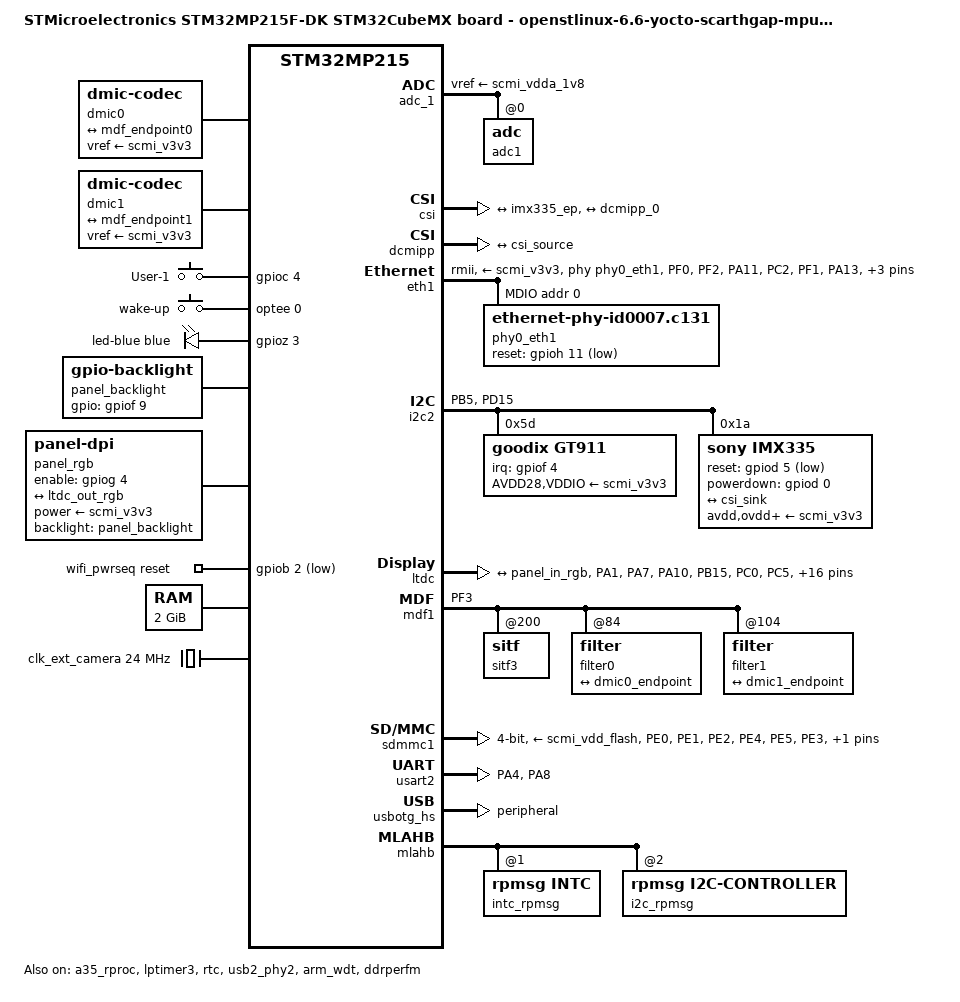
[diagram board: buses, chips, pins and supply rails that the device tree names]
/dts-v1/;
#include <dt-bindings/pinctrl/stm32-pinfunc.h>
#include "stm32mp215.dtsi"
#include "stm32mp21xf.dtsi"
#include "stm32mp215f-board_215f-dk_m33td-mx-resmem.dtsi"

/* USER CODE BEGIN includes */
#include <dt-bindings/gpio/gpio.h>
#include <dt-bindings/leds/common.h>
#include <dt-bindings/input/input.h>
#include <dt-bindings/rtc/rtc-stm32.h>
#include "stm32mp21-pinctrl.dtsi"
/* USER CODE END includes */

/{
	model = "STMicroelectronics STM32MP215F-DK STM32CubeMX board - openstlinux-6.6-yocto-scarthgap-mpu-v25.01.03";
	compatible = "st,stm32mp215f-board_215f-dk_m33td-mx", "st,stm32mp215f-dk", "st,stm32mp215";

	/* USER CODE BEGIN root */

	aliases{
		ethernet0 = &eth1;
		serial0 = &usart2;
		serial1 = &usart6;
		serial2 = &uart4;
		serial3 = &usart1;
	};

	ca35ss_clk:ca35ss-clk{
		compatible = "st,stm32mp2-ca35ss-clk";
		#clock-cells = <0>;
	};

	cpu0_opp_table:cpu0-opp-table{
		compatible = "operating-points-v2";
		opp-shared;

		opp-1200000000{
			opp-hz = /bits/ 64 <1200000000>;
			opp-suspend;
		};

		opp-1500000000{
			opp-hz = /bits/ 64 <1500000000>;
		};
	};

	chosen{
		stdout-path = "serial0:115200n8";
		#address-cells = <2>;
		#size-cells = <2>;
		ranges;
	};
	
	framebuffer {
			compatible = "simple-framebuffer";
			clocks = <&rcc CK_KER_LTDC>;
			status = "disabled";
		};

	dmic0:dmic-0{
		compatible = "dmic-codec";
		#sound-dai-cells = <1>;
		sound-name-prefix = "dmic0";
		vref-supply = <&scmi_v3v3>;
		status = "okay";

		port{

			dmic0_endpoint:endpoint{
				remote-endpoint = <&mdf_endpoint0>;
			};
		};
	};

	dmic1:dmic-1{
		compatible = "dmic-codec";
		#sound-dai-cells = <1>;
		sound-name-prefix = "dmic1";
		vref-supply = <&scmi_v3v3>;
		status = "okay";

		port{

			dmic1_endpoint:endpoint{
				remote-endpoint = <&mdf_endpoint1>;
			};
		};
	};

	gpio-keys{
		compatible = "gpio-keys";

		button-user-1{
			label = "User-1";
			linux,code = <BTN_1>;
			gpios = <&gpioc 4 GPIO_ACTIVE_HIGH>;
			status = "okay";
		};

		button-wake-up{
			label = "wake-up";
			linux,code = <KEY_WAKEUP>;
			interrupts-extended = <&optee 0>;
			wakeup-source;
			status = "okay";
		};
	};

	gpio-leds{
		compatible = "gpio-leds";

		led-blue{
			function = LED_FUNCTION_HEARTBEAT;
			color = <LED_COLOR_ID_BLUE>;
			gpios = <&gpioz 3 GPIO_ACTIVE_HIGH>;
			linux,default-trigger = "heartbeat";
			default-state = "off";
		};
	};

	panel_backlight:panel-backlight{
		compatible = "gpio-backlight";
		gpios = <&gpiof 9 GPIO_ACTIVE_HIGH>;
		default-on;
		default-brightness-level = <1>;
		status = "okay";
	};

	panel_rgb:panel-rgb{
		compatible = "panel-dpi";
		enable-gpios = <&gpiog 4 GPIO_ACTIVE_HIGH>;
		backlight = <&panel_backlight>;
		power-supply = <&scmi_v3v3>;
		data-mapping = "bgr666";
		default-on;
		status = "okay";
		width-mm = <105>;
		height-mm = <67>;

		port{

			panel_in_rgb:endpoint{
				remote-endpoint = <&ltdc_out_rgb>;
			};
		};

		panel-timing{
			clock-frequency = <10000000>;
			hactive = <480>;
			vactive = <272>;
			hsync-len = <52>;
			hfront-porch = <10>;
			hback-porch = <10>;
			vsync-len = <10>;
			vfront-porch = <10>;
			vback-porch = <10>;
			hsync-active = <0>;
			vsync-active = <0>;
			de-active = <1>;
			pixelclk-active = <1>;
		};
	};

	sound{
		compatible = "audio-graph-card";
		label = "STM32MP21-DK";
		dais = <&mdf1_port0 &mdf1_port1>;
		status = "okay";
	};

	wifi_pwrseq:wifi-pwrseq{
		compatible = "mmc-pwrseq-simple";
		reset-gpios = <&gpiob 2 GPIO_ACTIVE_LOW>;
	};
	/* USER CODE END root */

	memory@80000000{
		device_type = "memory";
		reg = <0x0 0x80000000 0x0 0x80000000>;
	};

	clocks{

		/* USER CODE BEGIN clocks */

		clk_ext_camera:clk-ext-camera{
			#clock-cells = <0>;
			compatible = "fixed-clock";
			clock-frequency = <24000000>;
		};
		/* USER CODE END clocks */
	};
};

&pinctrl {

	eth1_mdio_pins_mx:eth1_mdio_mx-0{

		pins{
			pinmux = <STM32_PINMUX('F', 0, AF10)>,
					<STM32_PINMUX('F', 2, AF10)>;
			bias-disable;
			drive-push-pull;
			slew-rate = <1>;
		};
	};

	eth1_mdio_sleep_pins_mx:eth1_mdio_sleep_mx-0{

		pins{
			pinmux = <STM32_PINMUX('F', 0, ANALOG)>,
					<STM32_PINMUX('F', 2, ANALOG)>;
		};
	};

	eth1_rmii_pins_mx:eth1_rmii_mx-0{

		pins1{
			pinmux = <STM32_PINMUX('A', 11, AF10)>,
					<STM32_PINMUX('C', 2, AF10)>,
					<STM32_PINMUX('F', 1, AF10)>;
			bias-disable;
			drive-push-pull;
		};

		pins2{
			pinmux = <STM32_PINMUX('A', 13, AF10)>,
					<STM32_PINMUX('A', 14, AF10)>,
					<STM32_PINMUX('A', 15, AF10)>,
					<STM32_PINMUX('C', 1, AF10)>;
			bias-disable;
			drive-push-pull;
			slew-rate = <1>;
		};
	};

	eth1_rmii_sleep_pins_mx:eth1_rmii_sleep_mx-0{

		pins{
			pinmux = <STM32_PINMUX('A', 11, ANALOG)>,
					<STM32_PINMUX('A', 13, ANALOG)>,
					<STM32_PINMUX('A', 14, ANALOG)>,
					<STM32_PINMUX('A', 15, ANALOG)>,
					<STM32_PINMUX('C', 1, ANALOG)>,
					<STM32_PINMUX('C', 2, ANALOG)>,
					<STM32_PINMUX('F', 1, ANALOG)>;
		};
	};

	i2c2_pins_mx:i2c2_mx-0{

		pins{
			pinmux = <STM32_PINMUX('B', 5, AF9)>,
					<STM32_PINMUX('D', 15, AF6)>;
			bias-disable;
			drive-open-drain;
			slew-rate = <0>;
		};
	};

	i2c2_sleep_pins_mx:i2c2_sleep_mx-0{

		pins{
			pinmux = <STM32_PINMUX('B', 5, ANALOG)>,
					<STM32_PINMUX('D', 15, ANALOG)>;
		};
	};

	ltdc_pins_mx:ltdc_mx-0{

		pins1{
			pinmux = <STM32_PINMUX('A', 1, AF11)>,
					<STM32_PINMUX('A', 7, AF10)>,
					<STM32_PINMUX('A', 10, AF12)>,
					<STM32_PINMUX('B', 15, AF13)>,
					<STM32_PINMUX('C', 0, AF13)>,
					<STM32_PINMUX('C', 5, AF14)>,
					<STM32_PINMUX('C', 11, AF13)>,
					<STM32_PINMUX('F', 5, AF13)>,
					<STM32_PINMUX('G', 2, AF13)>,
					<STM32_PINMUX('G', 5, AF13)>,
					<STM32_PINMUX('G', 7, AF13)>,
					<STM32_PINMUX('G', 8, AF13)>,
					<STM32_PINMUX('G', 9, AF13)>,
					<STM32_PINMUX('G', 10, AF13)>,
					<STM32_PINMUX('G', 11, AF13)>,
					<STM32_PINMUX('G', 12, AF13)>,
					<STM32_PINMUX('G', 15, AF13)>,
					<STM32_PINMUX('I', 0, AF13)>,
					<STM32_PINMUX('I', 1, AF13)>,
					<STM32_PINMUX('I', 4, AF13)>,
					<STM32_PINMUX('I', 6, AF13)>;
			bias-disable;
			drive-push-pull;
			slew-rate = <0>;
			st,io-clk-edge = <0>;
			st,io-retime = <1>;
			st,io-delay-path = <0>;
			st,io-delay = <0b0000>;
		};

		pins2{
			pinmux = <STM32_PINMUX('F', 12, AF13)>;
			bias-disable;
			drive-push-pull;
			slew-rate = <1>;
			st,io-clk-edge = <0>;
			st,io-retime = <0>;
			st,io-delay-path = <0>;
			st,io-delay = <0b0000>;
		};
	};

	ltdc_sleep_pins_mx:ltdc_sleep_mx-0{

		pins{
			pinmux = <STM32_PINMUX('A', 1, ANALOG)>,
					<STM32_PINMUX('A', 7, ANALOG)>,
					<STM32_PINMUX('A', 10, ANALOG)>,
					<STM32_PINMUX('B', 15, ANALOG)>,
					<STM32_PINMUX('C', 0, ANALOG)>,
					<STM32_PINMUX('C', 5, ANALOG)>,
					<STM32_PINMUX('C', 11, ANALOG)>,
					<STM32_PINMUX('F', 5, ANALOG)>,
					<STM32_PINMUX('F', 12, ANALOG)>,
					<STM32_PINMUX('G', 2, ANALOG)>,
					<STM32_PINMUX('G', 5, ANALOG)>,
					<STM32_PINMUX('G', 7, ANALOG)>,
					<STM32_PINMUX('G', 8, ANALOG)>,
					<STM32_PINMUX('G', 9, ANALOG)>,
					<STM32_PINMUX('G', 10, ANALOG)>,
					<STM32_PINMUX('G', 11, ANALOG)>,
					<STM32_PINMUX('G', 12, ANALOG)>,
					<STM32_PINMUX('G', 15, ANALOG)>,
					<STM32_PINMUX('I', 0, ANALOG)>,
					<STM32_PINMUX('I', 1, ANALOG)>,
					<STM32_PINMUX('I', 4, ANALOG)>,
					<STM32_PINMUX('I', 6, ANALOG)>;
		};
	};

	mdf1_pins_mx:mdf1_mx-0{

		pins{
			pinmux = <STM32_PINMUX('F', 3, AF5)>;
			bias-disable;
			drive-push-pull;
			slew-rate = <1>;
		};
	};

	mdf1_sleep_pins_mx:mdf1_sleep_mx-0{

		pins{
			pinmux = <STM32_PINMUX('F', 3, ANALOG)>;
		};
	};

	sdmmc1_pins_mx:sdmmc1_mx-0{

		pins1{
			pinmux = <STM32_PINMUX('E', 0, AF10)>,
					<STM32_PINMUX('E', 1, AF10)>,
					<STM32_PINMUX('E', 2, AF10)>,
					<STM32_PINMUX('E', 4, AF10)>,
					<STM32_PINMUX('E', 5, AF10)>;
			bias-disable;
			drive-push-pull;
			slew-rate = <2>;
		};

		pins2{
			pinmux = <STM32_PINMUX('E', 3, AF10)>;
			bias-disable;
			drive-push-pull;
			slew-rate = <3>;
		};
	};

	sdmmc1_opendrain_pins_mx:sdmmc1_opendrain_mx-0{

		pins1{
			pinmux = <STM32_PINMUX('E', 0, AF10)>,
					<STM32_PINMUX('E', 1, AF10)>,
					<STM32_PINMUX('E', 4, AF10)>,
					<STM32_PINMUX('E', 5, AF10)>;
			bias-disable;
			drive-push-pull;
			slew-rate = <2>;
		};

		pins2{
			pinmux = <STM32_PINMUX('E', 2, AF10)>;
			bias-disable;
			drive-open-drain;
			slew-rate = <2>;
		};

		pins3{
			pinmux = <STM32_PINMUX('E', 3, AF10)>;
			bias-disable;
			drive-push-pull;
			slew-rate = <3>;
		};
	};

	sdmmc1_sleep_pins_mx:sdmmc1_sleep_mx-0{

		pins{
			pinmux = <STM32_PINMUX('E', 0, ANALOG)>,
					<STM32_PINMUX('E', 1, ANALOG)>,
					<STM32_PINMUX('E', 2, ANALOG)>,
					<STM32_PINMUX('E', 3, ANALOG)>,
					<STM32_PINMUX('E', 4, ANALOG)>,
					<STM32_PINMUX('E', 5, ANALOG)>;
		};
	};

	usart2_pins_mx:usart2_mx-0{

		pins1{
			pinmux = <STM32_PINMUX('A', 4, AF6)>;
			bias-disable;
			drive-push-pull;
			slew-rate = <0>;
		};

		pins2{
			pinmux = <STM32_PINMUX('A', 8, AF8)>;
			bias-disable;
			drive-push-pull;
		};
	};

	usart2_idle_pins_mx:usart2_idle_mx-0{

		pins1{
			pinmux = <STM32_PINMUX('A', 4, ANALOG)>;
		};

		pins2{
			pinmux = <STM32_PINMUX('A', 8, AF8)>;
			bias-disable;
			drive-push-pull;
		};
	};

	usart2_sleep_pins_mx:usart2_sleep_mx-0{

		pins{
			pinmux = <STM32_PINMUX('A', 4, ANALOG)>,
					<STM32_PINMUX('A', 8, ANALOG)>;
		};
	};
};

&pinctrl_z {
};

&a35_rproc {
	status = "okay";
};

&adc_1 {
	status = "okay";

	/* USER CODE BEGIN adc_1 */
	vdda-supply = <&scmi_vdda18adc>;
	vref-supply = <&scmi_vdda_1v8>;

	adc1:adc@0{
		status = "okay";

		channel@0{
			reg = <0>;
			st,min-sample-time-ns = <100>;
		};

		channel@1{
			reg = <1>;
			st,min-sample-time-ns = <100>;
		};
	};
	/* USER CODE END adc_1 */
};

&csi {
	status = "okay";

	/* USER CODE BEGIN csi */
	vdd-supply = <&scmi_vddcore>;
	vdda18-supply = <&scmi_vdda_1v8>;

	ports{
		#address-cells = <1>;
		#size-cells = <0>;

		port@0{
			reg = <0>;

			csi_sink:endpoint{
				remote-endpoint = <&imx335_ep>;
				data-lanes = <1 2>;
				bus-type = <4>;
			};
		};

		port@1{
			reg = <1>;

			csi_source:endpoint{
				remote-endpoint = <&dcmipp_0>;
			};
		};
	};
	/* USER CODE END csi */
};

&dcmipp {
	status = "okay";

	/* USER CODE BEGIN dcmipp */

	port{

		dcmipp_0:endpoint{
			remote-endpoint = <&csi_source>;
			bus-type = <4>;
		};
	};
	/* USER CODE END dcmipp */
};

&eth1 {
	pinctrl-names = "default", "sleep";
	pinctrl-0 = <&eth1_mdio_pins_mx>, <&eth1_rmii_pins_mx>;
	pinctrl-1 = <&eth1_mdio_sleep_pins_mx>, <&eth1_rmii_sleep_pins_mx>;
	status = "okay";

	/* USER CODE BEGIN eth1 */
	phy-mode = "rmii";
	max-speed = <100>;
	phy-handle = <&phy0_eth1>;
	phy-supply = <&scmi_v3v3>;
	st,ext-phyclk;

	mdio1{
		#address-cells = <1>;
		#size-cells = <0>;
		compatible = "snps,dwmac-mdio";

		phy0_eth1:ethernet-phy@0{
			compatible = "ethernet-phy-id0007.c131";
			reset-gpios = <&gpioh 11 GPIO_ACTIVE_LOW>;
			reset-assert-us = <1000>;
			reset-deassert-us = <30000>;
			reg = <0>;
		};
	};
	/* USER CODE END eth1 */
};

&hpdma {
	status = "okay";

	/* USER CODE BEGIN hpdma */
	memory-region = <&hpdma1_lli>;
	lli-bus-interface = <1>;
	/* USER CODE END hpdma */
};

&hpdma2 {
	status = "okay";

	/* USER CODE BEGIN hpdma2 */
	memory-region = <&hpdma2_lli>;
	lli-bus-interface = <1>;
	/* USER CODE END hpdma2 */
};

&hpdma3 {
	status = "okay";

	/* USER CODE BEGIN hpdma3 */
	memory-region = <&hpdma3_lli>;
	lli-bus-interface = <1>;
	/* USER CODE END hpdma3 */
};

&i2c2 {
	pinctrl-names = "default", "sleep";
	pinctrl-0 = <&i2c2_pins_mx>;
	pinctrl-1 = <&i2c2_sleep_pins_mx>;
	status = "okay";

	/* USER CODE BEGIN i2c2 */
	i2c-scl-rising-time-ns = <34>;
	i2c-scl-falling-time-ns = <2>;
	goodix:goodix-ts@5d{
		compatible = "goodix,gt911";
		reg = <0x5d>;
		pinctrl-names = "default";
		pinctrl-0 = <&goodix_pins_a>;
		interrupt-parent = <&gpiof>;
		interrupts = <4 IRQ_TYPE_EDGE_FALLING>;
		AVDD28-supply = <&scmi_v3v3>;
		VDDIO-supply = <&scmi_v3v3>;
		touchscreen-size-x = <480>;
		touchscreen-size-y = <272>;
		status = "okay";
	};

	imx335:camera@1a{
		compatible = "sony,imx335";
		reg = <0x1a>;
		clocks = <&clk_ext_camera>;
		avdd-supply = <&scmi_v3v3>;
		ovdd-supply = <&scmi_v3v3>;
		dvdd-supply = <&scmi_v3v3>;
		reset-gpios = <&gpiod 5 (GPIO_ACTIVE_LOW | GPIO_PUSH_PULL)>;
		powerdown-gpios = <&gpiod 0 (GPIO_ACTIVE_HIGH | GPIO_PUSH_PULL)>;

		port{

			imx335_ep:endpoint{
				remote-endpoint = <&csi_sink>;
				clock-lanes = <0>;
				data-lanes = <1 2>;
				link-frequencies = /bits/ 64 <594000000>;
			};
		};
	};
	/* USER CODE END i2c2 */
};

&ipcc1 {
	status = "okay";

	/* USER CODE BEGIN ipcc1 */
	/delete-property/ clocks;
	/* USER CODE END ipcc1 */
};

&lptimer3 {
	status = "okay";

	/* USER CODE BEGIN lptimer3 */

	timer{
		status = "okay";
	};
	/* USER CODE END lptimer3 */
};

&ltdc {
	pinctrl-names = "default", "sleep";
	pinctrl-0 = <&ltdc_pins_mx>;
	pinctrl-1 = <&ltdc_sleep_pins_mx>;
	status = "okay";

	/* USER CODE BEGIN ltdc */
	default-on;

	port{

		ltdc_out_rgb:endpoint{
			remote-endpoint = <&panel_in_rgb>;
		};
	};
	/* USER CODE END ltdc */
};

&mdf1 {
	pinctrl-names = "default", "sleep";
	pinctrl-0 = <&mdf1_pins_mx>;
	pinctrl-1 = <&mdf1_sleep_pins_mx>;
	status = "okay";

	/* USER CODE BEGIN mdf1 */
	#clock-cells = <1>;
	clock-output-names = "cck0";
	clock-frequency = <1536000>;

	sitf3:sitf@200{
		pinctrl-names = "default", "sleep";
		pinctrl-0 = <&mdf_sdi3_pins_a>;
		pinctrl-1 = <&mdf_sdi3_sleep_pins_a>;
		st,sitf-mode = "spi";
		clocks = <&mdf1 0>;
		status = "okay";
	};

	filter0:filter@84{
		#address-cells = <1>;
		#size-cells = <0>;
		st,cic-mode = <4>;
		st,sitf = <&sitf3 0>;
		st,hpf-filter-cutoff-bp = <625>;
		status = "okay";

		channel@0{
			reg = <0>;
			label = "dmic_u26";
		};

		asoc_pdm0:mdf-dai{
			compatible = "st,stm32mp25-mdf-dai";
			#sound-dai-cells = <0>;
			io-channels = <&filter0 0>;
			power-domains = <&d1_pd>;
			status = "okay";

			mdf1_port0:port{

				mdf_endpoint0:endpoint{
					remote-endpoint = <&dmic0_endpoint>;
				};
			};
		};
	};

	filter1:filter@104{
		#address-cells = <1>;
		#size-cells = <0>;
		st,cic-mode = <4>;
		st,sitf = <&sitf3 1>;
		st,hpf-filter-cutoff-bp = <625>;
		status = "okay";

		channel@1{
			reg = <1>;
			label = "dmic_u27";
		};

		asoc_pdm1:mdf-dai{
			compatible = "st,stm32mp25-mdf-dai";
			#sound-dai-cells = <0>;
			io-channels = <&filter1 0>;
			power-domains = <&d1_pd>;
			status = "okay";

			mdf1_port1:port{

				mdf_endpoint1:endpoint{
					remote-endpoint = <&dmic1_endpoint>;
				};
			};
		};
	};
	/* USER CODE END mdf1 */
};

&rtc {
	status = "okay";

	/* USER CODE BEGIN rtc */
	st,lsco = <RTC_OUT1>;
	/* USER CODE END rtc */
};

&sdmmc1 {
	pinctrl-names = "default", "opendrain", "sleep";
	pinctrl-0 = <&sdmmc1_pins_mx>;
	pinctrl-1 = <&sdmmc1_opendrain_pins_mx>;
	pinctrl-2 = <&sdmmc1_sleep_pins_mx>;
	status = "okay";

	/* USER CODE BEGIN sdmmc1 */
	cd-gpios = <&gpiod 3 (GPIO_ACTIVE_LOW | GPIO_PULL_UP)>;
	disable-wp;
	st,neg-edge;
	bus-width = <4>;
	vmmc-supply = <&scmi_vdd_flash>;
	vqmmc-supply = <&scmi_vddio1>;
	/* USER CODE END sdmmc1 */
};

&usart2 {
	pinctrl-names = "default", "idle", "sleep";
	pinctrl-0 = <&usart2_pins_mx>;
	pinctrl-1 = <&usart2_idle_pins_mx>;
	pinctrl-2 = <&usart2_sleep_pins_mx>;
	status = "okay";

	/* USER CODE BEGIN usart2 */
	/delete-property/ dmas;
	/delete-property/ dma-names;
	/* USER CODE END usart2 */
};

&usb2_phy2 {
	status = "okay";

	/* USER CODE BEGIN usb2_phy2 */
	vdda18-supply = <&scmi_vdda_1v8>;
	vdd33-supply = <&scmi_vdd3v3_usb>;
	/* USER CODE END usb2_phy2 */
};

&usbotg_hs {
	status = "okay";

	/* USER CODE BEGIN usbotg_hs */
	role-switch-default-mode = "peripheral";
	dr_mode = "peripheral";
	usb-role-switch;
	/* USER CODE END usbotg_hs */
};

/* USER CODE BEGIN addons */

&scmi {

	compatible = "arm,scmi";
	#address-cells = <1>;
	#size-cells = <0>;
	mboxes = <&ipcc1 0x10f>;
	mbox-names = "tx";
	shmem = <&scmi_cid1_ns>;
	/delete-property/ linaro,optee-channel-id;
	/delete-node/protocol@13;
};
&arm_wdt {
	timeout-sec = <32>;
	status = "okay";
};

&bsec {
	memory-region = <&bsec_mirror >;
};

&ddrperfm {
	st,dram-type = <0>;
	status = "okay";
};

&cpu0 {
	operating-points-v2 = <&cpu0_opp_table>;
	clocks = <&ca35ss_clk>;
};

&mlahb {

	intc_rpmsg:interrupt-controller@1{
		compatible = "rpmsg,intc";
		reg = <1 0>;
		#interrupt-cells = <1>;
		interrupt-controller;
	};

	i2c_rpmsg:i2c@2{
		compatible = "rpmsg,i2c-controller";
		reg = <2 0>;
		rpmsg,dev-id = "rpmsg_i2c";
		#address-cells = <1>;
		#size-cells = <0>;
		status = "okay";
	};
};

&scmi_regu {
	scmi_vddcore:regulator@5{
		reg = <VOLTD_SCMI_STPMIC_BUCK1>;
		regulator-name = "vddcore";
	};
	scmi_vdd3v3_usb: regulator@f {
		reg = <VOLTD_SCMI_STPMIC_LDO4>;
		regulator-name = "vdd3v3_usb";
	};
	scmi_vdd_flash: regulator@10 {
		reg = <VOLTD_SCMI_STPMIC_LDO5>;
		regulator-name = "vdd_flash";
	};
	scmi_vdda_1v8: regulator@11 {
		reg = <VOLTD_SCMI_STPMIC_LDO6>;
		regulator-name = "vdda_1v8";
	};
	scmi_v3v3: regulator@15 {
		reg = <VOLTD_SCMI_STPMIC_GPO1>;
		regulator-name = "v3v3";
	};
};

&scmi_vddio2 {
	status = "okay";
};
/* USER CODE END addons */
